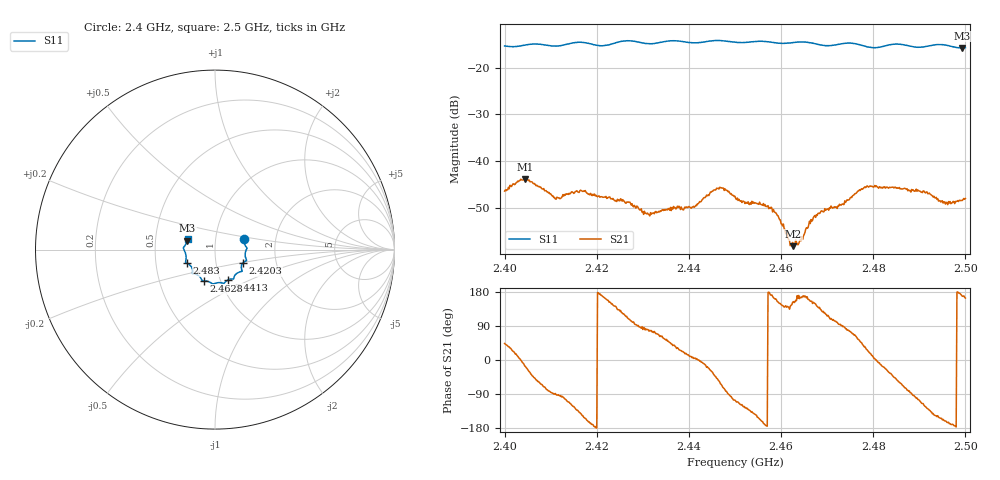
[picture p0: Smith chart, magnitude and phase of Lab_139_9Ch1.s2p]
# Hz S RI R
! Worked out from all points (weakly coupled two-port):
!   601 points, 2.4 GHz to 2.5 GHz, reference 50 ohm
!   highest |S21| = -43.85 dB at 2.4045 GHz (marker M1); lowest = -58.2 dB at 2.4627 GHz (marker M2)
!   lowest |S11| = -15.8 dB at 2.4993 GHz (marker M3), VSWR 1.39, Z = 36.5 + j3.71 ohm
!   |S11| at or under -10 dB: start of sweep to end of sweep
!   S12 and S22 are empty: the file has one direction only
!   S11 on the Smith chart (normalised r, x): 2.4 GHz: 1.37, +0.16; 2.4203 GHz: 1.35, -0.21; 2.4413 GHz: 1.09, -0.38; 2.4628 GHz: 0.83, -0.30; 2.483 GHz: 0.72, -0.11; 2.5 GHz: 0.73, +0.09
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2.4e9  0.1608 0.0566  0.00346 0.00329  0 0  0 0
2.4045e9  0.1734 0.0154  0.00615 -0.00185  0 0  0 0
2.411167e9  0.1682 -0.0227  -7.58e-05 -0.0039  0 0  0 0
2.416667e9  0.1759 -0.0615  -0.00387 -0.00288  0 0  0 0
2.420333e9  0.1552 -0.0742  -0.0042 0.000224  0 0  0 0
2.431e9  0.1235 -0.1312  0.000448 0.00274  0 0  0 0
2.433333e9  0.108 -0.1484  0.00108 0.00263  0 0  0 0
2.441333e9  0.0743 -0.168  0.00326 0.000303  0 0  0 0
2.4465e9  0.0485 -0.1885  0.00287 -0.00411  0 0  0 0
2.45e9  0.0292 -0.184  -0.00115 -0.00403  0 0  0 0
2.458e9  -0.023 -0.1848  -0.00311 0.000459  0 0  0 0
2.462667e9  -0.0618 -0.1746  -0.0011 0.000536  0 0  0 0
2.462833e9  -0.0629 -0.1746  -0.00109 0.000596  0 0  0 0
2.464167e9  -0.069 -0.1747  -0.00139 0.000369  0 0  0 0
2.466667e9  -0.0743 -0.1675  -0.00206 0.000957  0 0  0 0
2.478333e9  -0.125 -0.1129  0.0044 0.00276  0 0  0 0
2.483e9  -0.1548 -0.0766  0.00469 -0.00242  0 0  0 0
2.483333e9  -0.157 -0.0755  0.00435 -0.00271  0 0  0 0
2.491333e9  -0.1669 -0.0133  -0.00248 -0.00382  0 0  0 0
2.495667e9  -0.1735 0.0145  -0.00327 -0.00114  0 0  0 0
2.499333e9  -0.1543 0.0495  -0.0037 0.000771  0 0  0 0
2.5e9  -0.1527 0.0584  -0.00381 0.00113  0 0  0 0
